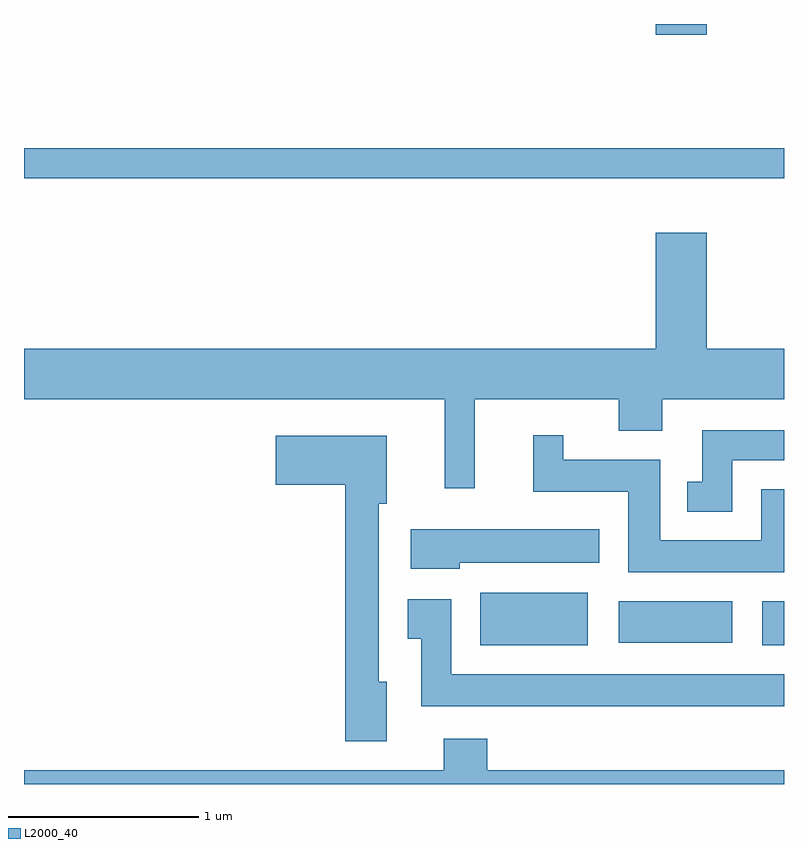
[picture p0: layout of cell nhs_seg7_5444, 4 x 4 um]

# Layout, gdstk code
import gdstk
lib = gdstk.Library(unit=1e-6, precision=1e-09)
def R(c, l, rs):  # rectangles x0, y0, x1, y1
    for r in rs: c.add(gdstk.rectangle(r[:2], r[2:], *l))
def P(c, l, *ps):  # polygons
    for p in ps: c.add(gdstk.Polygon(p, *l))
L2000_40 = (2000, 40)

nhs_seg7_5444 = lib.new_cell('nhs_seg7_5444')
R(nhs_seg7_5444, L2000_40, [(354.011,1752.981,354.579,1753.259), (355.496,1752.981,355.611,1753.214), (354.741,1752.996,355.339,1753.214), (351.611,1755.441,355.611,1755.599), (354.936,1756.196,355.204,1756.252)])
P(nhs_seg7_5444, L2000_40, [(353.984,1754.276),(354.741,1754.276),(354.741,1754.111),(354.969,1754.111),(354.969,1754.276),(355.611,1754.276),(355.611,1754.544),(355.204,1754.544),(355.204,1755.154),(354.936,1755.154),(354.936,1754.544),(351.611,1754.544),(351.611,1754.276),(353.826,1754.276),(353.826,1753.808),(353.984,1753.808)],
  [(355.339,1753.956),(355.611,1753.956),(355.611,1754.114),(355.181,1754.114),(355.181,1753.844),(355.103,1753.844),(355.103,1753.686),(355.339,1753.686)],
  [(355.611,1753.804),(355.491,1753.804),(355.491,1753.534),(354.959,1753.534),(354.959,1753.959),(354.449,1753.959),(354.449,1754.088),(354.291,1754.088),(354.291,1753.791),(354.791,1753.791),(354.791,1753.366),(355.611,1753.366)],
  [(353.519,1752.789),(353.479,1752.789),(353.479,1753.726),(353.519,1753.726),(353.519,1754.084),(352.936,1754.084),(352.936,1753.826),(353.301,1753.826),(353.301,1752.476),(353.519,1752.476)],
  [(353.904,1753.416),(354.639,1753.416),(354.639,1753.594),(353.646,1753.594),(353.646,1753.386),(353.904,1753.386)],
  [(355.611,1752.829),(353.859,1752.829),(353.859,1753.224),(353.631,1753.224),(353.631,1753.016),(353.701,1753.016),(353.701,1752.661),(355.611,1752.661)],
  [(351.611,1752.252),(355.611,1752.252),(355.611,1752.324),(354.049,1752.324),(354.049,1752.489),(353.821,1752.489),(353.821,1752.324),(351.611,1752.324)])

lib.write_gds('nhs_seg7_5444.gds')
